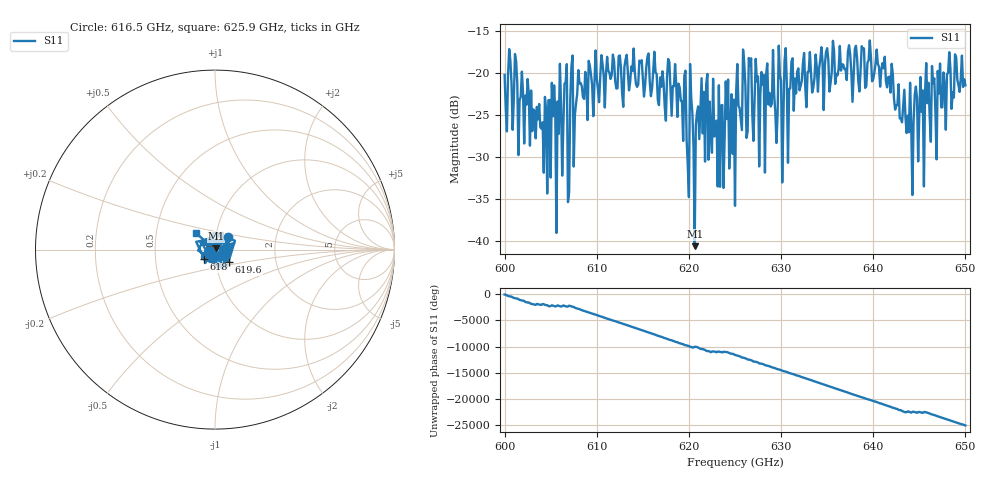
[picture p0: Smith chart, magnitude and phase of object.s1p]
!Created with skrf (http://scikit-rf.org).
# GHz S MA R 50.0
!freq magS11 angS11
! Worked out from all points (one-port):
!   401 points, 600 GHz to 650 GHz, reference 50 ohm
!   lowest |S11| = -40.6 dB at 620.6 GHz (marker M1), VSWR 1.02, Z = 50.5 + j0.804 ohm
!   |S11| at or under -10 dB: start of sweep to end of sweep
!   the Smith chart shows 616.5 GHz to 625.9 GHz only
!   S11 on the Smith chart (normalised r, x): 616.5 GHz: 1.14, +0.16; 618 GHz: 0.88, -0.10; 619.6 GHz: 1.16, -0.16; 625.9 GHz: 0.80, +0.15
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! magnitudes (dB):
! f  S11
! 600 GHz  -20.2
! 600.6 GHz  -18.5
! 604.4 GHz  -22.8
! 606.2 GHz  -32.2
! 606.9 GHz  -35.4
! 608.1 GHz  -21.2
! 612.5 GHz  -17.9
! 616.5 GHz  -20.1
! 618 GHz  -21.8
! 618.8 GHz  -25.2
! 619.6 GHz  -19.7
! 620.6 GHz  -40.6
! 620.9 GHz  -24.7
! 621.1 GHz  -27.9
! 623.6 GHz  -23.8
! 624.2 GHz  -20.8
! 625 GHz  -35.8
! 625.9 GHz  -17.2
! 630.1 GHz  -33.0
! 631.2 GHz  -18.2
! 637.5 GHz  -17.7
! 641.1 GHz  -19.4
! 643.8 GHz  -25.0
! 644.1 GHz  -26.3
! 645.9 GHz  -23.6
! 647.6 GHz  -19.9
! 648.2 GHz  -17.5
! 650 GHz  -21.4
